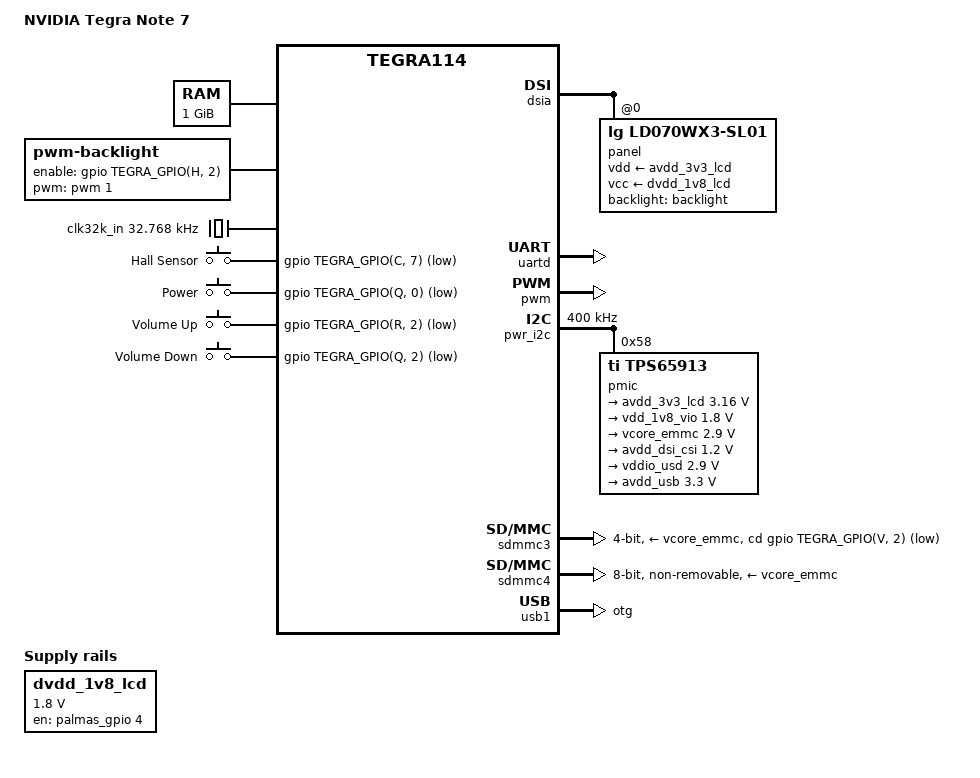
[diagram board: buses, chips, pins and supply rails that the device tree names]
// SPDX-License-Identifier: GPL-2.0
/dts-v1/;

#include <dt-bindings/input/input.h>
#include "tegra114.dtsi"

/ {
	model = "NVIDIA Tegra Note 7";
	compatible = "nvidia,tegratab", "nvidia,tegra114";

	chosen {
		stdout-path = &uartd;
	};

	aliases {
		i2c0 = &pwr_i2c;

		mmc0 = &sdmmc4; /* eMMC */
		mmc1 = &sdmmc3; /* uSD slot */

		usb0 = &usb1;
	};

	memory {
		device_type = "memory";
		reg = <0x80000000 0x40000000>;
	};

	host1x@50000000 {
		dc@54200000 {
			nvidia,180-rotation;
		};

		dsia: dsi@54300000 {
			status = "okay";

			avdd-dsi-csi-supply = <&avdd_dsi_csi>;

			panel@0 {
				compatible = "lg,ld070wx3-sl01";
				reg = <0>;

				vdd-supply = <&avdd_3v3_lcd>;
				vcc-supply = <&dvdd_1v8_lcd>;

				backlight = <&backlight>;
			};
		};
	};

	pinmux@70000868 {
		pinctrl-names = "default";
		pinctrl-0 = <&state_default>;

		state_default: pinmux {
			/* ULPI pinmux */
			ulpi-data0 {
				nvidia,pins = "ulpi_data0_po1",
						"ulpi_data1_po2",
						"ulpi_data2_po3",
						"ulpi_data5_po6",
						"ulpi_data6_po7",
						"ulpi_data7_po0";
				nvidia,function = "ulpi";
				nvidia,pull = <TEGRA_PIN_PULL_NONE>;
				nvidia,tristate = <TEGRA_PIN_DISABLE>;
				nvidia,enable-input = <TEGRA_PIN_ENABLE>;
			};
			ulpi-data3 {
				nvidia,pins = "ulpi_data3_po4",
						"ulpi_data4_po5";
				nvidia,function = "ulpi";
				nvidia,pull = <TEGRA_PIN_PULL_UP>;
				nvidia,tristate = <TEGRA_PIN_DISABLE>;
				nvidia,enable-input = <TEGRA_PIN_ENABLE>;
			};

			/* SPI1 pinmux */
			ulpi-clk {
				nvidia,pins = "ulpi_clk_py0",
						"ulpi_nxt_py2",
						"ulpi_stp_py3";
				nvidia,function = "spi1";
				nvidia,pull = <TEGRA_PIN_PULL_NONE>;
				nvidia,tristate = <TEGRA_PIN_DISABLE>;
				nvidia,enable-input = <TEGRA_PIN_DISABLE>;
			};
			ulpi-dir {
				nvidia,pins = "ulpi_dir_py1";
				nvidia,function = "spi1";
				nvidia,pull = <TEGRA_PIN_PULL_NONE>;
				nvidia,tristate = <TEGRA_PIN_DISABLE>;
				nvidia,enable-input = <TEGRA_PIN_ENABLE>;
			};

			/* I2S pinmux */
			dap1-pins {
				nvidia,pins = "dap1_fs_pn0",
						"dap1_din_pn1",
						"dap1_dout_pn2",
						"dap1_sclk_pn3";
				nvidia,function = "rsvd4";
				nvidia,pull = <TEGRA_PIN_PULL_DOWN>;
				nvidia,tristate = <TEGRA_PIN_ENABLE>;
				nvidia,enable-input = <TEGRA_PIN_DISABLE>;
			};
			dap2-dout {
				nvidia,pins = "dap2_fs_pa2",
						"dap2_sclk_pa3",
						"dap2_dout_pa5";
				nvidia,function = "i2s1";
				nvidia,pull = <TEGRA_PIN_PULL_NONE>;
				nvidia,tristate = <TEGRA_PIN_DISABLE>;
				nvidia,enable-input = <TEGRA_PIN_DISABLE>;
			};
			dap2-din {
				nvidia,pins = "dap2_din_pa4";
				nvidia,function = "i2s1";
				nvidia,pull = <TEGRA_PIN_PULL_NONE>;
				nvidia,tristate = <TEGRA_PIN_DISABLE>;
				nvidia,enable-input = <TEGRA_PIN_ENABLE>;
			};
			dap3-fs-pp0 {
				nvidia,pins = "dap3_fs_pp0",
						"dap3_din_pp1",
						"dap3_dout_pp2",
						"dap3_sclk_pp3";
				nvidia,function = "i2s2";
				nvidia,pull = <TEGRA_PIN_PULL_DOWN>;
				nvidia,tristate = <TEGRA_PIN_ENABLE>;
				nvidia,enable-input = <TEGRA_PIN_DISABLE>;
			};
			pv0 {
				nvidia,pins = "pv0";
				nvidia,function = "rsvd2";
				nvidia,pull = <TEGRA_PIN_PULL_DOWN>;
				nvidia,tristate = <TEGRA_PIN_ENABLE>;
				nvidia,enable-input = <TEGRA_PIN_DISABLE>;
			};
			pv1 {
				nvidia,pins = "pv1";
				nvidia,function = "rsvd1";
				nvidia,pull = <TEGRA_PIN_PULL_DOWN>;
				nvidia,tristate = <TEGRA_PIN_ENABLE>;
				nvidia,enable-input = <TEGRA_PIN_DISABLE>;
			};
			dap4-din {
				nvidia,pins = "dap4_din_pp5";
				nvidia,function = "i2s3";
				nvidia,pull = <TEGRA_PIN_PULL_NONE>;
				nvidia,tristate = <TEGRA_PIN_DISABLE>;
				nvidia,enable-input = <TEGRA_PIN_ENABLE>;
			};
			dap4-dout {
				nvidia,pins = "dap4_fs_pp4",
						"dap4_dout_pp6",
						"dap4_sclk_pp7";
				nvidia,function = "i2s3";
				nvidia,pull = <TEGRA_PIN_PULL_NONE>;
				nvidia,tristate = <TEGRA_PIN_DISABLE>;
				nvidia,enable-input = <TEGRA_PIN_DISABLE>;
			};

			/* SDMMC1 pinmux */
			sdmmc1-clk {
				nvidia,pins = "sdmmc1_clk_pz0";
				nvidia,function = "sdmmc1";
				nvidia,pull = <TEGRA_PIN_PULL_NONE>;
				nvidia,tristate = <TEGRA_PIN_DISABLE>;
				nvidia,enable-input = <TEGRA_PIN_ENABLE>;
			};
			sdmmc1-cmd {
				nvidia,pins = "sdmmc1_cmd_pz1",
						"sdmmc1_dat0_py7",
						"sdmmc1_dat1_py6",
						"sdmmc1_dat2_py5",
						"sdmmc1_dat3_py4";
				nvidia,function = "sdmmc1";
				nvidia,pull = <TEGRA_PIN_PULL_UP>;
				nvidia,tristate = <TEGRA_PIN_DISABLE>;
				nvidia,enable-input = <TEGRA_PIN_ENABLE>;
			};
			sdmmc1-wp-n {
				nvidia,pins = "sdmmc1_wp_n_pv3";
				nvidia,function = "sdmmc1";
				nvidia,pull = <TEGRA_PIN_PULL_NONE>;
				nvidia,tristate = <TEGRA_PIN_DISABLE>;
				nvidia,enable-input = <TEGRA_PIN_DISABLE>;
			};

			/* SDMMC3 pinmux */
			sdmmc3-clk {
				nvidia,pins = "sdmmc3_clk_pa6";
				nvidia,function = "sdmmc3";
				nvidia,pull = <TEGRA_PIN_PULL_NONE>;
				nvidia,tristate = <TEGRA_PIN_DISABLE>;
				nvidia,enable-input = <TEGRA_PIN_DISABLE>;
			};
			sdmmc3-cmd {
				nvidia,pins = "sdmmc3_cmd_pa7",
						"sdmmc3_dat0_pb7",
						"sdmmc3_dat1_pb6",
						"sdmmc3_dat2_pb5",
						"sdmmc3_dat3_pb4",
						"sdmmc3_cd_n_pv2";
				nvidia,function = "sdmmc3";
				nvidia,pull = <TEGRA_PIN_PULL_UP>;
				nvidia,tristate = <TEGRA_PIN_DISABLE>;
				nvidia,enable-input = <TEGRA_PIN_ENABLE>;
			};
			sdmmc3-clk-lb {
				nvidia,pins = "sdmmc3_clk_lb_out_pee4",
						"sdmmc3_clk_lb_in_pee5";
				nvidia,function = "sdmmc3";
				nvidia,pull = <TEGRA_PIN_PULL_UP>;
				nvidia,tristate = <TEGRA_PIN_DISABLE>;
				nvidia,enable-input = <TEGRA_PIN_ENABLE>;
			};

			/* SDMMC4 pinmux */
			sdmmc4-clk {
				nvidia,pins = "sdmmc4_clk_pcc4";
				nvidia,function = "sdmmc4";
				nvidia,pull = <TEGRA_PIN_PULL_NONE>;
				nvidia,tristate = <TEGRA_PIN_DISABLE>;
				nvidia,enable-input = <TEGRA_PIN_ENABLE>;
			};
			sdmmc4-cmd {
				nvidia,pins = "sdmmc4_cmd_pt7",
						"sdmmc4_dat0_paa0",
						"sdmmc4_dat1_paa1",
						"sdmmc4_dat2_paa2",
						"sdmmc4_dat3_paa3",
						"sdmmc4_dat4_paa4",
						"sdmmc4_dat5_paa5",
						"sdmmc4_dat6_paa6",
						"sdmmc4_dat7_paa7";
				nvidia,function = "sdmmc4";
				nvidia,pull = <TEGRA_PIN_PULL_UP>;
				nvidia,tristate = <TEGRA_PIN_DISABLE>;
				nvidia,enable-input = <TEGRA_PIN_ENABLE>;
			};

			/* EXTPERIPH pinmux */
			clk1-req {
				nvidia,pins = "clk1_req_pee2";
				nvidia,function = "rsvd3";
				nvidia,pull = <TEGRA_PIN_PULL_DOWN>;
				nvidia,tristate = <TEGRA_PIN_ENABLE>;
				nvidia,enable-input = <TEGRA_PIN_DISABLE>;
			};
			clk1-out {
				nvidia,pins = "clk1_out_pw4";
				nvidia,function = "extperiph1";
				nvidia,pull = <TEGRA_PIN_PULL_NONE>;
				nvidia,tristate = <TEGRA_PIN_DISABLE>;
				nvidia,enable-input = <TEGRA_PIN_DISABLE>;
			};
			clk2-req {
				nvidia,pins = "clk2_req_pcc5";
				nvidia,function = "rsvd2";
				nvidia,pull = <TEGRA_PIN_PULL_NONE>;
				nvidia,tristate = <TEGRA_PIN_DISABLE>;
				nvidia,enable-input = <TEGRA_PIN_DISABLE>;
			};
			clk2-out {
				nvidia,pins = "clk2_out_pw5";
				nvidia,function = "extperiph2";
				nvidia,pull = <TEGRA_PIN_PULL_NONE>;
				nvidia,tristate = <TEGRA_PIN_DISABLE>;
				nvidia,enable-input = <TEGRA_PIN_DISABLE>;
			};
			clk3-req-pee1 {
				nvidia,pins = "clk3_req_pee1";
				nvidia,function = "rsvd2";
				nvidia,pull = <TEGRA_PIN_PULL_NONE>;
				nvidia,tristate = <TEGRA_PIN_DISABLE>;
				nvidia,enable-input = <TEGRA_PIN_DISABLE>;
			};
			clk3-out {
				nvidia,pins = "clk3_out_pee0";
				nvidia,function = "extperiph3";
				nvidia,pull = <TEGRA_PIN_PULL_NONE>;
				nvidia,tristate = <TEGRA_PIN_DISABLE>;
				nvidia,enable-input = <TEGRA_PIN_DISABLE>;
			};

			dvfs-pinmux {
				nvidia,pins = "dvfs_pwm_px0",
						"dvfs_clk_px2";
				nvidia,function = "cldvfs";
				nvidia,pull = <TEGRA_PIN_PULL_NONE>;
				nvidia,tristate = <TEGRA_PIN_DISABLE>;
				nvidia,enable-input = <TEGRA_PIN_DISABLE>;
			};

			/* HDMI pinmux */
			hdmi-irq {
				nvidia,pins = "hdmi_int_pn7";
				nvidia,function = "rsvd1";
				nvidia,pull = <TEGRA_PIN_PULL_DOWN>;
				nvidia,tristate = <TEGRA_PIN_DISABLE>;
				nvidia,enable-input = <TEGRA_PIN_ENABLE>;
				nvidia,rcv-sel = <TEGRA_PIN_DISABLE>;
			};
			hdmi-cec {
				nvidia,pins = "hdmi_cec_pee3";
				nvidia,function = "cec";
				nvidia,pull = <TEGRA_PIN_PULL_NONE>;
				nvidia,tristate = <TEGRA_PIN_DISABLE>;
				nvidia,enable-input = <TEGRA_PIN_ENABLE>;
				nvidia,open-drain = <TEGRA_PIN_DISABLE>;
			};

			/* I2C pinmux */
			gen1-i2c {
				nvidia,pins = "gen1_i2c_scl_pc4",
						"gen1_i2c_sda_pc5";
				nvidia,function = "i2c1";
				nvidia,pull = <TEGRA_PIN_PULL_NONE>;
				nvidia,tristate = <TEGRA_PIN_DISABLE>;
				nvidia,enable-input = <TEGRA_PIN_ENABLE>;
				nvidia,open-drain = <TEGRA_PIN_ENABLE>;
			};
			gen2-i2c {
				nvidia,pins = "gen2_i2c_scl_pt5",
						"gen2_i2c_sda_pt6";
				nvidia,function = "i2c2";
				nvidia,pull = <TEGRA_PIN_PULL_NONE>;
				nvidia,tristate = <TEGRA_PIN_DISABLE>;
				nvidia,enable-input = <TEGRA_PIN_ENABLE>;
				nvidia,open-drain = <TEGRA_PIN_ENABLE>;
			};
			cam-i2c {
				nvidia,pins = "cam_i2c_scl_pbb1",
						"cam_i2c_sda_pbb2";
				nvidia,function = "i2c3";
				nvidia,pull = <TEGRA_PIN_PULL_NONE>;
				nvidia,tristate = <TEGRA_PIN_DISABLE>;
				nvidia,enable-input = <TEGRA_PIN_ENABLE>;
				nvidia,open-drain = <TEGRA_PIN_ENABLE>;
			};
			ddc-scl-pv4 {
				nvidia,pins = "ddc_scl_pv4",
						"ddc_sda_pv5";
				nvidia,function = "i2c4";
				nvidia,pull = <TEGRA_PIN_PULL_NONE>;
				nvidia,tristate = <TEGRA_PIN_DISABLE>;
				nvidia,enable-input = <TEGRA_PIN_ENABLE>;
				nvidia,rcv-sel = <TEGRA_PIN_DISABLE>;
			};
			pwr-i2c {
				nvidia,pins = "pwr_i2c_scl_pz6",
						"pwr_i2c_sda_pz7";
				nvidia,function = "i2cpwr";
				nvidia,pull = <TEGRA_PIN_PULL_NONE>;
				nvidia,tristate = <TEGRA_PIN_DISABLE>;
				nvidia,enable-input = <TEGRA_PIN_ENABLE>;
				nvidia,open-drain = <TEGRA_PIN_ENABLE>;
			};

			/* UARTA pinmux */
			uarta-out {
				nvidia,pins = "kb_row9_ps1";
				nvidia,function = "uarta";
				nvidia,pull = <TEGRA_PIN_PULL_NONE>;
				nvidia,tristate = <TEGRA_PIN_DISABLE>;
				nvidia,enable-input = <TEGRA_PIN_DISABLE>;
			};
			uarta-in {
				nvidia,pins = "kb_row10_ps2";
				nvidia,function = "uarta";
				nvidia,pull = <TEGRA_PIN_PULL_NONE>;
				nvidia,tristate = <TEGRA_PIN_DISABLE>;
				nvidia,enable-input = <TEGRA_PIN_ENABLE>;
			};

			/* UARTB pinmux */
			uart2-cts-rts {
				nvidia,pins = "uart2_cts_n_pj5",
						"uart2_rts_n_pj6";
				nvidia,function = "rsvd3";
				nvidia,pull = <TEGRA_PIN_PULL_DOWN>;
				nvidia,tristate = <TEGRA_PIN_ENABLE>;
				nvidia,enable-input = <TEGRA_PIN_DISABLE>;
			};

			/* UARTC pinmux */
			uart3-cts-rxd {
				nvidia,pins = "uart3_cts_n_pa1",
						"uart3_rxd_pw7";
				nvidia,function = "uartc";
				nvidia,pull = <TEGRA_PIN_PULL_UP>;
				nvidia,tristate = <TEGRA_PIN_DISABLE>;
				nvidia,enable-input = <TEGRA_PIN_ENABLE>;
			};
			uart3-rts-txd {
				nvidia,pins = "uart3_rts_n_pc0",
						"uart3_txd_pw6";
				nvidia,function = "uartc";
				nvidia,pull = <TEGRA_PIN_PULL_NONE>;
				nvidia,tristate = <TEGRA_PIN_DISABLE>;
				nvidia,enable-input = <TEGRA_PIN_DISABLE>;
			};

			/* UARTD pinmux */
			gmi-a17 {
				nvidia,pins = "gmi_a17_pb0";
				nvidia,function = "uartd";
				nvidia,pull = <TEGRA_PIN_PULL_UP>;
				nvidia,tristate = <TEGRA_PIN_DISABLE>;
				nvidia,enable-input = <TEGRA_PIN_ENABLE>;
			};
			gmi-a18 {
				nvidia,pins = "gmi_a18_pb1";
				nvidia,function = "uartd";
				nvidia,pull = <TEGRA_PIN_PULL_NONE>;
				nvidia,tristate = <TEGRA_PIN_DISABLE>;
				nvidia,enable-input = <TEGRA_PIN_ENABLE>;
			};
			uartd-out {
				nvidia,pins = "gmi_a16_pj7",
						"gmi_a19_pk7";
				nvidia,function = "uartd";
				nvidia,pull = <TEGRA_PIN_PULL_NONE>;
				nvidia,tristate = <TEGRA_PIN_DISABLE>;
				nvidia,enable-input = <TEGRA_PIN_DISABLE>;
			};

			/* PORT U */
			pu0 {
				nvidia,pins = "pu0";
				nvidia,function = "rsvd3";
				nvidia,pull = <TEGRA_PIN_PULL_DOWN>;
				nvidia,tristate = <TEGRA_PIN_ENABLE>;
				nvidia,enable-input = <TEGRA_PIN_DISABLE>;
			};
			pu1-2 {
				nvidia,pins = "pu1", "pu2";
				nvidia,function = "rsvd1";
				nvidia,pull = <TEGRA_PIN_PULL_DOWN>;
				nvidia,tristate = <TEGRA_PIN_ENABLE>;
				nvidia,enable-input = <TEGRA_PIN_DISABLE>;
			};
			pu3 {
				nvidia,pins = "pu3";
				nvidia,function = "pwm0";
				nvidia,pull = <TEGRA_PIN_PULL_DOWN>;
				nvidia,tristate = <TEGRA_PIN_ENABLE>;
				nvidia,enable-input = <TEGRA_PIN_DISABLE>;
			};
			pu4 {
				nvidia,pins = "pu4";
				nvidia,function = "pwm1";
				nvidia,pull = <TEGRA_PIN_PULL_DOWN>;
				nvidia,tristate = <TEGRA_PIN_ENABLE>;
				nvidia,enable-input = <TEGRA_PIN_DISABLE>;
			};
			pu5 {
				nvidia,pins = "pu5";
				nvidia,function = "pwm2";
				nvidia,pull = <TEGRA_PIN_PULL_UP>;
				nvidia,tristate = <TEGRA_PIN_DISABLE>;
				nvidia,enable-input = <TEGRA_PIN_ENABLE>;
			};
			pu6 {
				nvidia,pins = "pu6";
				nvidia,function = "pwm3";
				nvidia,pull = <TEGRA_PIN_PULL_NONE>;
				nvidia,tristate = <TEGRA_PIN_DISABLE>;
				nvidia,enable-input = <TEGRA_PIN_ENABLE>;
			};

			/* GMI section */
			gmi-wp-n-pc7 {
				nvidia,pins = "gmi_wp_n_pc7",
						"gmi_adv_n_pk0",
						"gmi_cs0_n_pj0",
						"gmi_wr_n_pi0";
				nvidia,function = "rsvd1";
				nvidia,pull = <TEGRA_PIN_PULL_UP>;
				nvidia,tristate = <TEGRA_PIN_DISABLE>;
				nvidia,enable-input = <TEGRA_PIN_ENABLE>;
			};
			gmi-iordy-pi5 {
				nvidia,pins = "gmi_iordy_pi5";
				nvidia,function = "rsvd2";
				nvidia,pull = <TEGRA_PIN_PULL_DOWN>;
				nvidia,tristate = <TEGRA_PIN_ENABLE>;
				nvidia,enable-input = <TEGRA_PIN_DISABLE>;
			};
			gmi-wait-pi7 {
				nvidia,pins = "gmi_wait_pi7";
				nvidia,function = "nand";
				nvidia,pull = <TEGRA_PIN_PULL_NONE>;
				nvidia,tristate = <TEGRA_PIN_DISABLE>;
				nvidia,enable-input = <TEGRA_PIN_DISABLE>;
			};
			gmi-clk-pk1 {
				nvidia,pins = "gmi_clk_pk1",
						"gmi_ad10_ph2",
						"gmi_ad11_ph3",
						"gmi_ad14_ph6",
						"gmi_cs3_n_pk4";
				nvidia,function = "gmi";
				nvidia,pull = <TEGRA_PIN_PULL_NONE>;
				nvidia,tristate = <TEGRA_PIN_DISABLE>;
				nvidia,enable-input = <TEGRA_PIN_DISABLE>;
			};
			gmi-cs2-n-pk3 {
				nvidia,pins = "gmi_cs2_n_pk3";
				nvidia,function = "gmi";
				nvidia,pull = <TEGRA_PIN_PULL_UP>;
				nvidia,tristate = <TEGRA_PIN_DISABLE>;
				nvidia,enable-input = <TEGRA_PIN_ENABLE>;
			};
			gmi-cs4-n-pk2 {
				nvidia,pins = "gmi_cs4_n_pk2";
				nvidia,function = "gmi";
				nvidia,pull = <TEGRA_PIN_PULL_NONE>;
				nvidia,tristate = <TEGRA_PIN_ENABLE>;
				nvidia,enable-input = <TEGRA_PIN_ENABLE>;
			};
			gmi-cs6-n-pi3 {
				nvidia,pins = "gmi_cs6_n_pi3";
				nvidia,function = "nand";
				nvidia,pull = <TEGRA_PIN_PULL_DOWN>;
				nvidia,tristate = <TEGRA_PIN_ENABLE>;
				nvidia,enable-input = <TEGRA_PIN_DISABLE>;
			};
			gmi-cs7-n-pi6 {
				nvidia,pins = "gmi_cs7_n_pi6";
				nvidia,function = "nand";
				nvidia,pull = <TEGRA_PIN_PULL_NONE>;
				nvidia,tristate = <TEGRA_PIN_DISABLE>;
				nvidia,enable-input = <TEGRA_PIN_ENABLE>;
			};
			gmi-ad0-pg0 {
				nvidia,pins = "gmi_ad0_pg0";
				nvidia,function = "rsvd1";
				nvidia,pull = <TEGRA_PIN_PULL_NONE>;
				nvidia,tristate = <TEGRA_PIN_DISABLE>;
				nvidia,enable-input = <TEGRA_PIN_DISABLE>;
			};
			gmi-ad1-pg1 {
				nvidia,pins = "gmi_ad1_pg1",
						"gmi_ad4_pg4",
						"gmi_ad5_pg5",
						"gmi_ad6_pg6",
						"gmi_ad7_pg7";
				nvidia,function = "rsvd1";
				nvidia,pull = <TEGRA_PIN_PULL_DOWN>;
				nvidia,tristate = <TEGRA_PIN_ENABLE>;
				nvidia,enable-input = <TEGRA_PIN_DISABLE>;
			};
			gmi-ad2-pg2 {
				nvidia,pins = "gmi_ad2_pg2",
						"gmi_ad3_pg3",
						"gmi_oe_n_pi1";
				nvidia,function = "rsvd1";
				nvidia,pull = <TEGRA_PIN_PULL_NONE>;
				nvidia,tristate = <TEGRA_PIN_DISABLE>;
				nvidia,enable-input = <TEGRA_PIN_ENABLE>;
			};
			gmi-ad8-ph0 {
				nvidia,pins = "gmi_ad8_ph0";
				nvidia,function = "gmi";
				nvidia,pull = <TEGRA_PIN_PULL_DOWN>;
				nvidia,tristate = <TEGRA_PIN_ENABLE>;
				nvidia,enable-input = <TEGRA_PIN_DISABLE>;
			};
			gmi-ad9 {
				nvidia,pins = "gmi_ad9_ph1";
				nvidia,function = "pwm1";
				nvidia,pull = <TEGRA_PIN_PULL_NONE>;
				nvidia,tristate = <TEGRA_PIN_DISABLE>;
				nvidia,enable-input = <TEGRA_PIN_DISABLE>;
			};
			gmi-ad12-ph4 {
				nvidia,pins = "gmi_ad12_ph4";
				nvidia,function = "rsvd4";
				nvidia,pull = <TEGRA_PIN_PULL_UP>;
				nvidia,tristate = <TEGRA_PIN_DISABLE>;
				nvidia,enable-input = <TEGRA_PIN_ENABLE>;
			};
			gmi-ad13-ph5 {
				nvidia,pins = "gmi_ad13_ph5";
				nvidia,function = "rsvd4";
				nvidia,pull = <TEGRA_PIN_PULL_NONE>;
				nvidia,tristate = <TEGRA_PIN_DISABLE>;
				nvidia,enable-input = <TEGRA_PIN_DISABLE>;
			};
			gmi-ad15-ph7 {
				nvidia,pins = "gmi_ad15_ph7";
				nvidia,function = "gmi";
				nvidia,pull = <TEGRA_PIN_PULL_DOWN>;
				nvidia,tristate = <TEGRA_PIN_ENABLE>;
				nvidia,enable-input = <TEGRA_PIN_DISABLE>;
			};
			gmi-dqs-p-pj3 {
				nvidia,pins = "gmi_dqs_p_pj3";
				nvidia,function = "nand";
				nvidia,pull = <TEGRA_PIN_PULL_UP>;
				nvidia,tristate = <TEGRA_PIN_DISABLE>;
				nvidia,enable-input = <TEGRA_PIN_ENABLE>;
			};
			gmi-rst-n-pi4 {
				nvidia,pins = "gmi_rst_n_pi4";
				nvidia,function = "rsvd4";
				nvidia,pull = <TEGRA_PIN_PULL_NONE>;
				nvidia,tristate = <TEGRA_PIN_DISABLE>;
				nvidia,enable-input = <TEGRA_PIN_DISABLE>;
			};
			gmi-clk-lb {
				nvidia,pins = "gmi_clk_lb";
				nvidia,function = "gmi";
				nvidia,pull = <TEGRA_PIN_PULL_NONE>;
				nvidia,tristate = <TEGRA_PIN_DISABLE>;
				nvidia,enable-input = <TEGRA_PIN_ENABLE>;
			};

			/* VI_ALT3 pinmux */
			cam-mclk {
				nvidia,pins = "pbb0", "cam_mclk_pcc0";
				nvidia,function = "vi_alt3";
				nvidia,pull = <TEGRA_PIN_PULL_NONE>;
				nvidia,tristate = <TEGRA_PIN_DISABLE>;
				nvidia,enable-input = <TEGRA_PIN_DISABLE>;
			};

			port-bb {
				nvidia,pins = "pbb3", "pbb4", "pbb5",
						"pbb6",	"pbb7";
				nvidia,function = "rsvd4";
				nvidia,pull = <TEGRA_PIN_PULL_NONE>;
				nvidia,tristate = <TEGRA_PIN_DISABLE>;
				nvidia,enable-input = <TEGRA_PIN_DISABLE>;
			};

			port-cc {
				nvidia,pins = "pcc1", "pcc2";
				nvidia,function = "rsvd2";
				nvidia,pull = <TEGRA_PIN_PULL_DOWN>;
				nvidia,tristate = <TEGRA_PIN_DISABLE>;
				nvidia,enable-input = <TEGRA_PIN_ENABLE>;
			};

			jtag-rtck {
				nvidia,pins = "jtag_rtck";
				nvidia,function = "rtck";
				nvidia,pull = <TEGRA_PIN_PULL_NONE>;
				nvidia,tristate = <TEGRA_PIN_DISABLE>;
				nvidia,enable-input = <TEGRA_PIN_ENABLE>;
			};

			/* KBC pinmux */
			kb-row0-pr0 {
				nvidia,pins = "kb_row0_pr0",
						"kb_row1_pr1";
				nvidia,function = "rsvd2";
				nvidia,pull = <TEGRA_PIN_PULL_NONE>;
				nvidia,tristate = <TEGRA_PIN_DISABLE>;
				nvidia,enable-input = <TEGRA_PIN_DISABLE>;
			};
			kb-row2-pr2 {
				nvidia,pins = "kb_row2_pr2",
						"kb_col0_pq0";
				nvidia,function = "kbc";
				nvidia,pull = <TEGRA_PIN_PULL_UP>;
				nvidia,tristate = <TEGRA_PIN_DISABLE>;
				nvidia,enable-input = <TEGRA_PIN_ENABLE>;
			};
			kb-row3-pr3 {
				nvidia,pins = "kb_row3_pr3";
				nvidia,function = "rsvd3";
				nvidia,pull = <TEGRA_PIN_PULL_UP>;
				nvidia,tristate = <TEGRA_PIN_DISABLE>;
				nvidia,enable-input = <TEGRA_PIN_ENABLE>;
			};
			kb-row4-pr4 {
				nvidia,pins = "kb_row4_pr4",
						"kb_row5_pr5",
						"kb_row6_pr6",
						"kb_col3_pq3",
						"kb_col4_pq4";
				nvidia,function = "kbc";
				nvidia,pull = <TEGRA_PIN_PULL_DOWN>;
				nvidia,tristate = <TEGRA_PIN_ENABLE>;
				nvidia,enable-input = <TEGRA_PIN_DISABLE>;
			};
			kb-row7-pr7 {
				nvidia,pins = "kb_row7_pr7",
						"kb_col2_pq2",
						"kb_col5_pq5";
				nvidia,function = "rsvd2";
				nvidia,pull = <TEGRA_PIN_PULL_UP>;
				nvidia,tristate = <TEGRA_PIN_DISABLE>;
				nvidia,enable-input = <TEGRA_PIN_ENABLE>;
			};
			kb-row8-ps0 {
				nvidia,pins = "kb_row8_ps0",
						"kb_col1_pq1",
						"kb_col6_pq6",
						"kb_col7_pq7";
				nvidia,function = "rsvd2";
				nvidia,pull = <TEGRA_PIN_PULL_DOWN>;
				nvidia,tristate = <TEGRA_PIN_ENABLE>;
				nvidia,enable-input = <TEGRA_PIN_DISABLE>;
			};

			/* CORE pinmux */
			sys-clk-req {
				nvidia,pins = "sys_clk_req_pz5";
				nvidia,function = "rsvd2";
				nvidia,pull = <TEGRA_PIN_PULL_DOWN>;
				nvidia,tristate = <TEGRA_PIN_ENABLE>;
				nvidia,enable-input = <TEGRA_PIN_DISABLE>;
			};
			clk-32k-out {
				nvidia,pins = "clk_32k_out_pa0",
						"gmi_cs1_n_pj2";
				nvidia,function = "soc";
				nvidia,pull = <TEGRA_PIN_PULL_UP>;
				nvidia,tristate = <TEGRA_PIN_ENABLE>;
				nvidia,enable-input = <TEGRA_PIN_ENABLE>;
			};
			clk-32k-in {
				nvidia,pins = "clk_32k_in";
				nvidia,function = "clk";
				nvidia,pull = <TEGRA_PIN_PULL_NONE>;
				nvidia,tristate = <TEGRA_PIN_DISABLE>;
				nvidia,enable-input = <TEGRA_PIN_ENABLE>;
			};
			core-pwr-req {
				nvidia,pins = "core_pwr_req";
				nvidia,function = "pwron";
				nvidia,pull = <TEGRA_PIN_PULL_NONE>;
				nvidia,tristate = <TEGRA_PIN_DISABLE>;
				nvidia,enable-input = <TEGRA_PIN_DISABLE>;
			};
			cpu-pwr-req {
				nvidia,pins = "cpu_pwr_req";
				nvidia,function = "cpu";
				nvidia,pull = <TEGRA_PIN_PULL_NONE>;
				nvidia,tristate = <TEGRA_PIN_DISABLE>;
				nvidia,enable-input = <TEGRA_PIN_DISABLE>;
			};
			pwr-int-n {
				nvidia,pins = "pwr_int_n";
				nvidia,function = "pmi";
				nvidia,pull = <TEGRA_PIN_PULL_UP>;
				nvidia,tristate = <TEGRA_PIN_DISABLE>;
				nvidia,enable-input = <TEGRA_PIN_ENABLE>;
			};
			owr {
				nvidia,pins = "owr";
				nvidia,function = "rsvd2";
				nvidia,pull = <TEGRA_PIN_PULL_DOWN>;
				nvidia,tristate = <TEGRA_PIN_ENABLE>;
				nvidia,enable-input = <TEGRA_PIN_DISABLE>;
				nvidia,rcv-sel = <TEGRA_PIN_DISABLE>;
			};
			reset-out-n {
				nvidia,pins = "reset_out_n";
				nvidia,function = "reset_out_n";
				nvidia,pull = <TEGRA_PIN_PULL_NONE>;
				nvidia,tristate = <TEGRA_PIN_DISABLE>;
				nvidia,enable-input = <TEGRA_PIN_DISABLE>;
			};

			/* AUD pinmux */
			gpio-x1-aud-px1 {
				nvidia,pins = "gpio_x1_aud_px1";
				nvidia,function = "rsvd2";
				nvidia,pull = <TEGRA_PIN_PULL_UP>;
				nvidia,tristate = <TEGRA_PIN_DISABLE>;
				nvidia,enable-input = <TEGRA_PIN_ENABLE>;
			};
			gpio-x3-aud-px3 {
				nvidia,pins = "gpio_x3_aud_px3";
				nvidia,function = "rsvd3";
				nvidia,pull = <TEGRA_PIN_PULL_DOWN>;
				nvidia,tristate = <TEGRA_PIN_ENABLE>;
				nvidia,enable-input = <TEGRA_PIN_DISABLE>;
			};
			gpio-x4-aud-px4 {
				nvidia,pins = "gpio_x4_aud_px4",
						"gpio_x5_aud_px5",
						"gpio_x7_aud_px7";
				nvidia,function = "rsvd1";
				nvidia,pull = <TEGRA_PIN_PULL_DOWN>;
				nvidia,tristate = <TEGRA_PIN_ENABLE>;
				nvidia,enable-input = <TEGRA_PIN_DISABLE>;
			};
			gpio-x6-aud-px6 {
				nvidia,pins = "gpio_x6_aud_px6";
				nvidia,function = "rsvd4";
				nvidia,pull = <TEGRA_PIN_PULL_DOWN>;
				nvidia,tristate = <TEGRA_PIN_ENABLE>;
				nvidia,enable-input = <TEGRA_PIN_DISABLE>;
			};
			gpio-w2-aud-pw2 {
				nvidia,pins = "gpio_w2_aud_pw2";
				nvidia,function = "rsvd2";
				nvidia,pull = <TEGRA_PIN_PULL_DOWN>;
				nvidia,tristate = <TEGRA_PIN_ENABLE>;
				nvidia,enable-input = <TEGRA_PIN_DISABLE>;
			};
			gpio-w3-aud-pw3 {
				nvidia,pins = "gpio_w3_aud_pw3";
				nvidia,function = "spi6";
				nvidia,pull = <TEGRA_PIN_PULL_UP>;
				nvidia,tristate = <TEGRA_PIN_DISABLE>;
				nvidia,enable-input = <TEGRA_PIN_ENABLE>;
			};

			usb-vbus-en {
				nvidia,pins = "usb_vbus_en0_pn4",
						"usb_vbus_en1_pn5";
				nvidia,function = "rsvd2";
				nvidia,pull = <TEGRA_PIN_PULL_DOWN>;
				nvidia,tristate = <TEGRA_PIN_ENABLE>;
				nvidia,enable-input = <TEGRA_PIN_DISABLE>;
				nvidia,open-drain = <TEGRA_PIN_DISABLE>;
			};

			/* GPIO power/drive control */
			drive-sdio1 {
				nvidia,pins = "drive_sdio1";
				nvidia,high-speed-mode = <TEGRA_PIN_ENABLE>;
				nvidia,schmitt = <TEGRA_PIN_DISABLE>;
				nvidia,pull-down-strength = <36>;
				nvidia,pull-up-strength = <20>;
				nvidia,slew-rate-rising = <TEGRA_PIN_SLEW_RATE_SLOW>;
				nvidia,slew-rate-falling = <TEGRA_PIN_SLEW_RATE_SLOW>;
			};
			drive-sdio3 {
				nvidia,pins = "drive_sdio3";
				nvidia,high-speed-mode = <TEGRA_PIN_ENABLE>;
				nvidia,schmitt = <TEGRA_PIN_DISABLE>;
				nvidia,pull-down-strength = <22>;
				nvidia,pull-up-strength = <36>;
				nvidia,slew-rate-rising = <TEGRA_PIN_SLEW_RATE_FASTEST>;
				nvidia,slew-rate-falling = <TEGRA_PIN_SLEW_RATE_FASTEST>;
			};
			drive-gma {
				nvidia,pins = "drive_gma";
				nvidia,high-speed-mode = <TEGRA_PIN_ENABLE>;
				nvidia,schmitt = <TEGRA_PIN_DISABLE>;
				nvidia,pull-down-strength = <2>;
				nvidia,pull-up-strength = <2>;
				nvidia,slew-rate-rising = <TEGRA_PIN_SLEW_RATE_FASTEST>;
				nvidia,slew-rate-falling = <TEGRA_PIN_SLEW_RATE_FASTEST>;
			};
		};
	};

	uartd: serial@70006300 {
		status = "okay";
	};

	pwm: pwm@7000a000 {
		status = "okay";
	};

	pwr_i2c: i2c@7000d000 {
		status = "okay";
		clock-frequency = <400000>;

		/* Texas Instruments TPS65913 PMIC */
		pmic: tps65913@58 {
			compatible = "ti,tps65913";
			reg = <0x58>;

			interrupts = <GIC_SPI 86 IRQ_TYPE_LEVEL_HIGH>;
			#interrupt-cells = <2>;
			interrupt-controller;

			ti,system-power-controller;

			palmas_gpio: gpio {
				compatible = "ti,palmas-gpio";
				gpio-controller;
				#gpio-cells = <2>;
			};

			pinmux {
				compatible = "ti,tps65913-pinctrl";
				ti,palmas-enable-dvfs1;

				pinctrl-names = "default";
				pinctrl-0 = <&palmas_default>;

				palmas_default: pinmux {
					pin_gpio4 {
						pins = "gpio4";
						function = "gpio";
					};
				};
			};

			pmic {
				compatible = "ti,tps65913-pmic";

				regulators {
					avdd_3v3_lcd: smps6 {
						regulator-name = "vdd_lcd_hv";
						regulator-min-microvolt = <3160000>;
						regulator-max-microvolt = <3160000>;
						regulator-boot-on;
					};

					vdd_1v8_vio: smps8 {
						regulator-name = "vdd_1v8_gen";
						regulator-min-microvolt = <1800000>;
						regulator-max-microvolt = <1800000>;
						regulator-always-on;
						regulator-boot-on;
					};

					vcore_emmc: smps9 {
						regulator-name = "vdd_sdmmc";
						regulator-min-microvolt = <2900000>;
						regulator-max-microvolt = <2900000>;
						regulator-always-on;
						regulator-boot-on;
					};

					avdd_dsi_csi: ldo2 {
						regulator-name = "avdd_dsi_csi";
						regulator-min-microvolt = <1200000>;
						regulator-max-microvolt = <1200000>;
						regulator-boot-on;
					};

					vddio_usd: ldo9 {
						regulator-name = "vddio_sdmmc";
						regulator-min-microvolt = <2900000>;
						regulator-max-microvolt = <2900000>;
						regulator-always-on;
						regulator-boot-on;
					};

					avdd_usb: ldousb {
						regulator-name = "vdd_usb";
						regulator-min-microvolt = <3300000>;
						regulator-max-microvolt = <3300000>;
						regulator-always-on;
						regulator-boot-on;
					};
				};
			};
		};
	};

	sdmmc3: sdhci@78000400 {
		status = "okay";
		bus-width = <4>;

		cd-gpios = <&gpio TEGRA_GPIO(V, 2) GPIO_ACTIVE_LOW>;
		power-gpios = <&gpio TEGRA_GPIO(K, 1) GPIO_ACTIVE_HIGH>;

		nvidia,default-tap = <0x3>;
		nvidia,default-trim = <0x3>;

		vmmc-supply = <&vcore_emmc>;
		vqmmc-supply = <&vddio_usd>;
	};

	sdmmc4: sdhci@78000600 {
		status = "okay";
		bus-width = <8>;
		non-removable;

		vmmc-supply = <&vcore_emmc>;
		vqmmc-supply = <&vdd_1v8_vio>;
	};

	usb1: usb@7d000000 {
		status = "okay";
		dr_mode = "otg";
	};

	backlight: backlight {
		compatible = "pwm-backlight";

		enable-gpios = <&gpio TEGRA_GPIO(H, 2) GPIO_ACTIVE_HIGH>;
		pwms = <&pwm 1 1000000>;

		brightness-levels = <1 35 70 105 140 175 210 255>;
		default-brightness-level = <5>;
	};

	clk32k_in: clock-32k {
		compatible = "fixed-clock";
		#clock-cells = <0>;
		clock-frequency = <32768>;
		clock-output-names = "ref-oscillator";
	};

	extcon-keys {
		compatible = "gpio-keys";

		switch-hall-sensor {
			label = "Hall Sensor";
			gpios = <&gpio TEGRA_GPIO(C, 7) GPIO_ACTIVE_LOW>;
			linux,code = <SW_LID>;
		};
	};

	gpio-keys {
		compatible = "gpio-keys";

		key-power {
			label = "Power";
			gpios = <&gpio TEGRA_GPIO(Q, 0) GPIO_ACTIVE_LOW>;
			linux,code = <KEY_ENTER>;
		};

		key-volume-up {
			label = "Volume Up";
			gpios = <&gpio TEGRA_GPIO(R, 2) GPIO_ACTIVE_LOW>;
			linux,code = <KEY_UP>;
		};

		key-volume-down {
			label = "Volume Down";
			gpios = <&gpio TEGRA_GPIO(Q, 2) GPIO_ACTIVE_LOW>;
			linux,code = <KEY_DOWN>;
		};
	};

	dvdd_1v8_lcd: regulator-lcdvio {
		compatible = "regulator-fixed";
		regulator-name = "dvdd_lcd";
		regulator-min-microvolt = <1800000>;
		regulator-max-microvolt = <1800000>;
		gpio = <&palmas_gpio 4 GPIO_ACTIVE_HIGH>;
		enable-active-high;
	};
};
